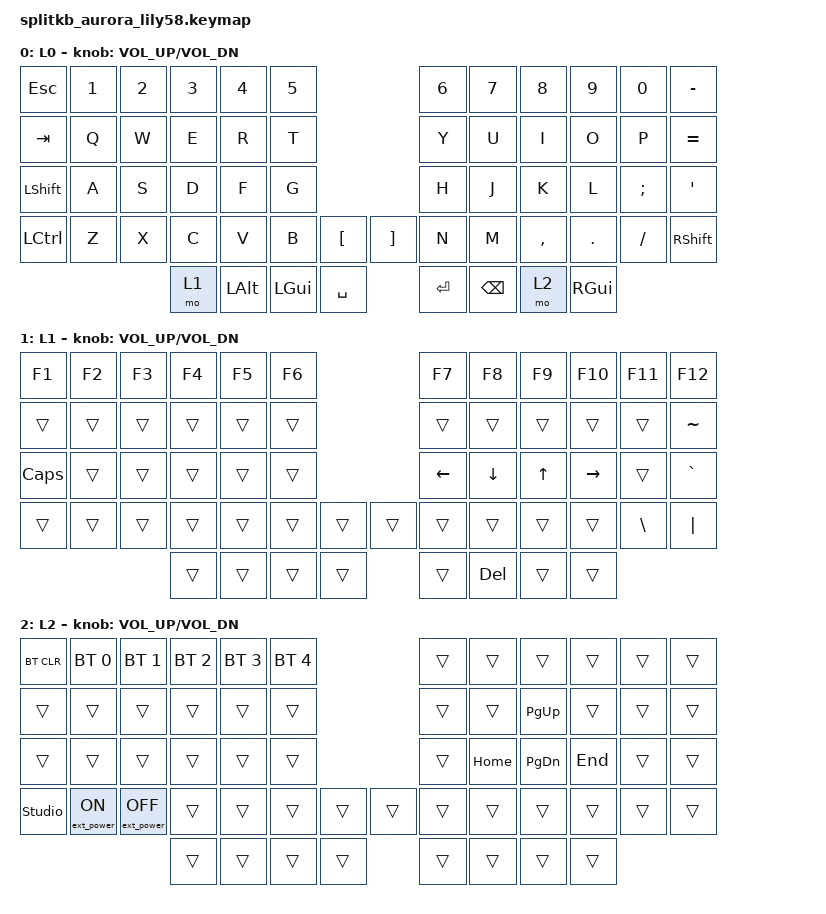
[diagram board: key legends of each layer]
/*
 * Copyright (c) 2020 The ZMK Contributors
 *
 * SPDX-License-Identifier: MIT
 */

#include <behaviors.dtsi>
#include <dt-bindings/zmk/keys.h>
#include <dt-bindings/zmk/bt.h>
#include <dt-bindings/zmk/ext_power.h>

/ {
	keymap {
		compatible = "zmk,keymap";

		default_layer {
			// Layer names are drawn by nice!oled with a hardcoded 68px text
			// width in a 32px-wide canvas, and its font is 8px per glyph
			// (adv_w 128 in 1/16px units), so the budget is 4 characters.
			//
			// No keyboard glyph is available here: the font covers ASCII
			// 32-126 only. ZMK's built-in screen could draw one because it
			// uses LVGL's symbol font, which this module's layer widget does
			// not. Getting it back would mean patching the module.
			display-name = "L0";
// ------------------------------------------------------------------------------------------------------------
// |  ESC  |  1  |  2  |  3   |  4   |  5   |                   |  6   |  7    |  8    |  9   |   0   |   -   |
// |  TAB  |  Q  |  W  |  E   |  R   |  T   |                   |  Y   |  U    |  I    |  O   |   P   |   =   |
// | SHIFT |  A  |  S  |  D   |  F   |  G   |                   |  H   |  J    |  K    |  L   |   ;   |   '   |
// |  CTRL |  Z  |  X  |  C   |  V   |  B   |   "["  |  |  "]"  |  N   |  M    |  ,    |  .   |   /   | SHIFT |
//                     |LOWER | LALT | LGUI |  SPACE |  | ENTER | BSPC | RAISE |  GUI  |
			bindings = <
&kp ESC   &kp N1 &kp N2 &kp N3   &kp N4   &kp N5                     &kp N6 &kp N7   &kp N8    &kp N9  &kp N0   &kp MINUS
&kp TAB   &kp Q  &kp W  &kp E    &kp R    &kp T                      &kp Y  &kp U    &kp I     &kp O   &kp P    &kp EQUAL
&kp LSHFT &kp A  &kp S  &kp D    &kp F    &kp G                      &kp H  &kp J    &kp K     &kp L   &kp SEMI &kp SQT
&kp LCTRL &kp Z  &kp X  &kp C    &kp V    &kp B  &kp LBKT   &kp RBKT &kp N  &kp M    &kp COMMA &kp DOT &kp FSLH &kp RSHFT
                        &mo 1    &kp LALT &kp LGUI &kp SPACE  &kp RET  &kp BSPC  &mo 2  &kp RGUI
			>;

			sensor-bindings = <&inc_dec_kp C_VOL_UP C_VOL_DN>;
		};

// Left button
		lower_layer {
			display-name = "L1";
// ------------------------------------------------------------------------------------------------------------
// |  F1   |  F2 |  F3 |  F4  |  F5  |  F6  |                   |  F7  |  F8   |  F9   |  F10 |  F11  |  F12  |
// |       |     |     |      |      |      |                   |      |       |       |      |       |   ~   |
// |  CAPS |     |     |      |      |      |                   | LEFT | DOWN  |   UP  | RIGHT|       |   `   |
// |       |     |     |      |      |      |        |  |       |      |       |       |      |   \   |   |   |
//                     |      |      |      |        |  |  DEL  |      |       |       |
			bindings = <

&kp F1     &kp F2           &kp F3            &kp F4            &kp F5       &kp F6                       &kp F7    &kp F8    &kp F9       &kp F10   &kp F11   &kp F12
&trans     &trans           &trans            &trans            &trans       &trans                       &trans    &trans    &trans       &trans    &trans    &kp TILDE
&kp CAPS   &trans           &trans            &trans            &trans       &trans                       &kp LEFT  &kp DOWN  &kp UP       &kp RIGHT &trans    &kp GRAVE
&trans     &trans           &trans            &trans            &trans       &trans    &trans   &trans    &trans    &trans    &trans       &trans    &kp BSLH  &kp PIPE
                                              &trans            &trans       &trans    &trans   &trans    &kp DEL   &trans    &trans
			>;

			sensor-bindings = <&inc_dec_kp C_VOL_UP C_VOL_DN>;
		};

// Right button
		raise_layer {
			display-name = "L2";
// ------------------------------------------------------------------------------------------------------------
// | BTCLR | BT1 | BT2 |  BT3 |  BT4 |  BT5 |                   |      |       |       |      |       |      |
// |       |     |     |      |      |      |                   |      |       | PGUP  |      |       |      |
// |       |     |     |      |      |      |                   |      |  HOME |  PGDN |  END |       |      |
// | STUDIO|EP ON|EPOFF|      |      |      |                   |      |       |       |      |       |      |
//                     |      |      |      |        |  |       |      |       |       |
			bindings = <
&bt BT_CLR &bt BT_SEL 0  &bt BT_SEL 1  &bt BT_SEL 2  &bt BT_SEL 3   &bt BT_SEL 4   &trans      &trans    &trans    &trans   &trans    &trans
&trans     &trans  &trans &trans  &trans  &trans                       &trans      &trans      &kp PG_UP    &trans   &trans    &trans
&trans     &trans  &trans &trans  &trans  &trans                       &trans      &kp HOME    &kp PG_DN    &kp END   &trans    &trans
&studio_unlock &ext_power EP_ON  &ext_power EP_OFF &trans  &trans  &trans   &trans   &trans    &trans      &trans    &trans    &trans   &trans    &trans
                          &trans  &trans  &trans    &trans   &trans    &trans      &trans    &trans
			>;

			sensor-bindings = <&inc_dec_kp C_VOL_UP C_VOL_DN>;
		};
	};
};
